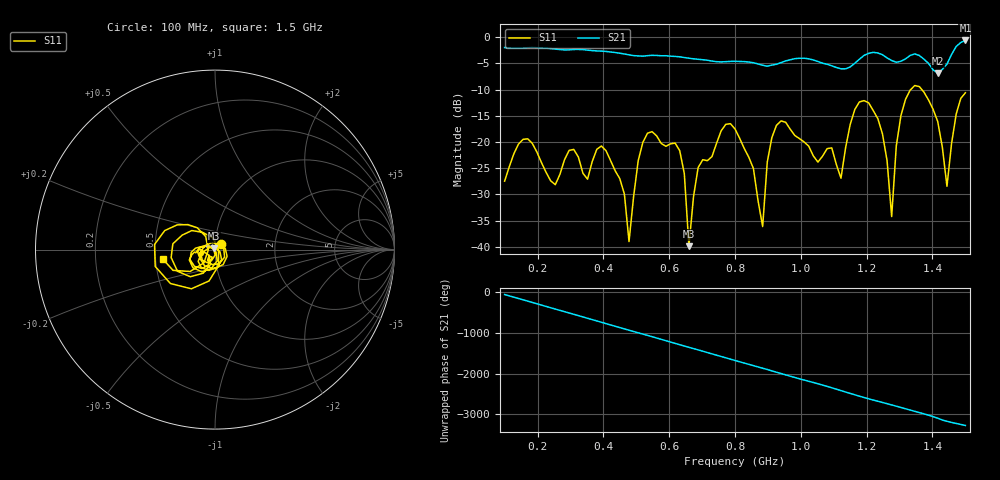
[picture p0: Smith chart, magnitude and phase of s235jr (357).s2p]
! NanoVNA-App
! Date: 2025-09-25 15:06:56
! Start: 100MHz Stop: 1,5GHz Points: 101
! S-Parameter data: F S11 S21 S12 S22
# Hz S RI R 50
!  Frequency  S11_Real  S11_Imag  S21_Real  S21_Imag  S12_Real  S12_Imag  S22_Real  S22_Imag
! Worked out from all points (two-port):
!   101 points, 100 MHz to 1.5 GHz, reference 50 ohm
!   highest |S21| = -0.62 dB at 1.5 GHz (marker M1); lowest = -6.9 dB at 1.416 GHz (marker M2)
!   |S21| within 3 dB of the highest: start of sweep to 519.5 MHz; 520.2 MHz to 604.7 MHz (84.46 MHz wide, 15 % of centre) (the widest 2 of 5)
!   lowest |S11| = -39.9 dB at 660 MHz (marker M3), VSWR 1.02, Z = 49.2 + j0.623 ohm
!   |S11| at or under -10 dB: start of sweep to 1.334 GHz; 1.368 GHz to end of sweep
!   S12 and S22 are empty: the file has one direction only
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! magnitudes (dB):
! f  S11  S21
! 100 MHz  -27.5  -2.0
! 170 MHz  -19.4  -2.0
! 338 MHz  -26.0  -2.4
! 408 MHz  -21.6  -2.7
! 478 MHz  -39.0  -3.4
! 520 MHz  -20.1  -3.6
! 576 MHz  -20.3  -3.5
! 632 MHz  -21.6  -3.7
! 660 MHz  -39.9  -4.0
! 688 MHz  -24.9  -4.2
! 800 MHz  -17.5  -4.6
! 884 MHz  -36.1  -5.3
! 926 MHz  -16.8  -5.2
! 1.038 GHz  -22.7  -4.3
! 1.122 GHz  -26.9  -6.0
! 1.206 GHz  -12.5  -3.1
! 1.248 GHz  -18.4  -3.3
! 1.276 GHz  -34.2  -4.4
! 1.318 GHz  -11.9  -4.1
! 1.416 GHz  -16.1  -6.9
! 1.444 GHz  -28.4  -5.1
! 1.5 GHz  -10.6  -0.6
